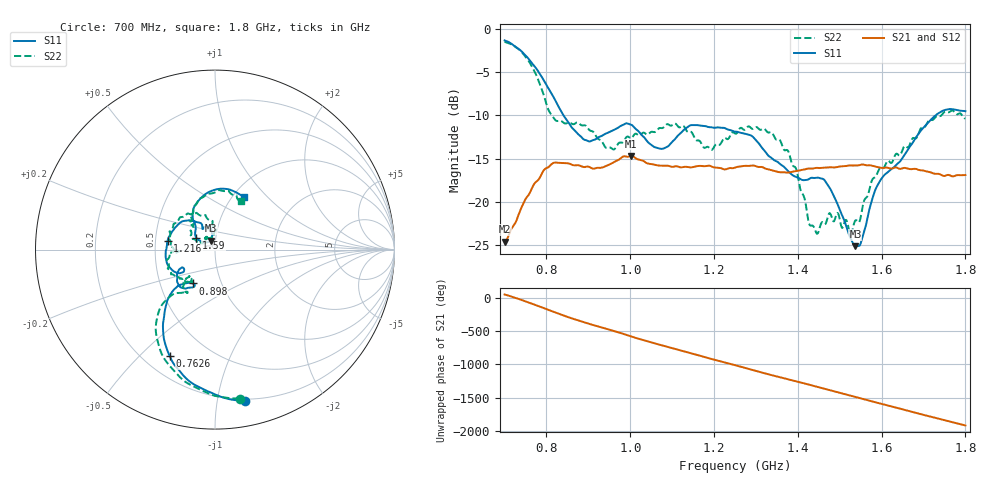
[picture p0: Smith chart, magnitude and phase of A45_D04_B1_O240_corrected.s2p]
! Created with skrf 1.9.0 (http://scikit-rf.org).
# Hz S RI R 50.0
!freq ReS11 ImS11 ReS21 ImS21 ReS12 ImS12 ReS22 ImS22
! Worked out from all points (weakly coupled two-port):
!   1601 points, 700 MHz to 1.8 GHz, reference 50 ohm
!   highest |S21| = -14.69 dB at 1.002 GHz (marker M1); lowest = -24.6 dB at 700 MHz (marker M2)
!   lowest |S11| = -25.1 dB at 1.537 GHz (marker M3), VSWR 1.12, Z = 47.5 + j4.79 ohm
!   |S11| at or under -10 dB: 840.6 MHz to 1.729 GHz (888 MHz wide, 69.1 % of centre)
!   |S22| runs from -23.8 to -1.5 dB; largest |S21 - S12| = 0.0034
!   S11 on the Smith chart (normalised r, x): 700 MHz: 0.19, -1.20; 762.6 MHz: 0.30, -0.62; 898 MHz: 0.73, -0.29; 1.216 GHz: 0.58, +0.06; 1.59 GHz: 0.80, +0.11; 1.8 GHz: 1.13, +0.74
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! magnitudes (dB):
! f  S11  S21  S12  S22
! 700 MHz  -1.3  -24.6  -24.4  -1.5
! 762.6 MHz  -3.8  -18.7  -18.7  -4.1
! 818.2 MHz  -8.0  -15.5  -15.6  -10.4
! 883.6 MHz  -12.5  -15.9  -15.8  -11.1
! 898 MHz  -12.9  -15.9  -16.0  -11.4
! 944.8 MHz  -12.0  -15.8  -15.8  -13.8
! 1.002 GHz  -11.1  -14.7  -14.8  -12.6
! 1.067 GHz  -13.8  -15.8  -15.7  -11.5
! 1.144 GHz  -11.1  -16.0  -16.0  -11.9
! 1.216 GHz  -11.4  -16.1  -16.1  -13.3
! 1.25 GHz  -11.9  -16.0  -16.0  -12.1
! 1.357 GHz  -15.6  -16.6  -16.5  -12.8
! 1.396 GHz  -17.1  -16.4  -16.4  -16.2
! 1.434 GHz  -17.2  -16.2  -16.1  -22.7
! 1.472 GHz  -18.1  -16.0  -16.0  -21.6
! 1.526 GHz  -24.2  -15.8  -15.8  -23.8
! 1.537 GHz  -25.1  -15.8  -15.8  -22.1
! 1.552 GHz  -24.5  -15.7  -15.7  -21.3
! 1.59 GHz  -18.1  -16.0  -15.9  -16.7
! 1.617 GHz  -16.5  -16.1  -16.0  -15.3
! 1.731 GHz  -9.9  -16.7  -16.7  -10.1
! 1.8 GHz  -9.5  -16.9  -16.9  -10.3
